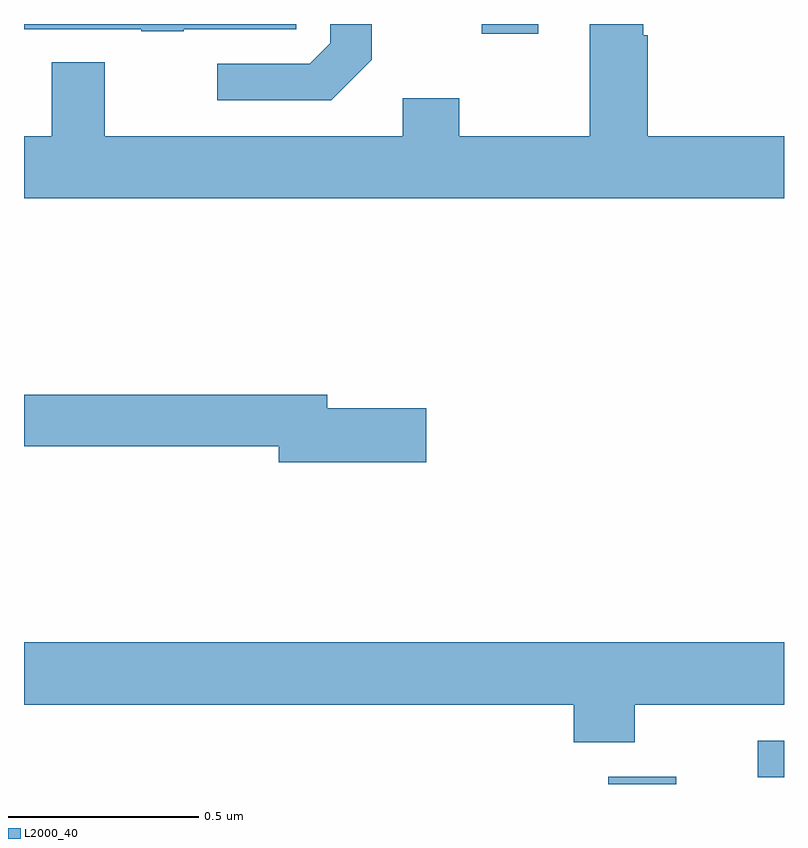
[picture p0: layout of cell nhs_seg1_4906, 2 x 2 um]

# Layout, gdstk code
import gdstk
lib = gdstk.Library(unit=1e-6, precision=1e-09)
def R(c, l, rs):  # rectangles x0, y0, x1, y1
    for r in rs: c.add(gdstk.rectangle(r[:2], r[2:], *l))
def P(c, l, *ps):  # polygons
    for p in ps: c.add(gdstk.Polygon(p, *l))
L2000_40 = (2000, 40)

nhs_seg1_4906 = lib.new_cell('nhs_seg1_4906')
R(nhs_seg1_4906, L2000_40, [(173.537,542.199,173.716,542.218), (173.931,542.217,174,542.313), (173.205,544.173,173.353,544.199)])
P(nhs_seg1_4906, L2000_40, [(174,543.904),(173.642,543.904),(173.642,544.169),(173.629,544.169),(173.629,544.199),(173.489,544.199),(173.489,543.904),(173.145,543.904),(173.145,544.003),(172.997,544.003),(172.997,543.904),(172.213,543.904),(172.213,544.099),(172.073,544.099),(172.073,543.904),(172,543.904),(172,543.74),(174,543.74)],
  [(172.421,544.185),(172.716,544.185),(172.716,544.199),(172,544.199),(172,544.185),(172.309,544.185),(172.309,544.18),(172.421,544.18)],
  [(172.915,544.105),(172.915,544.199),(172.806,544.199),(172.806,544.149),(172.752,544.095),(172.509,544.095),(172.509,543.999),(172.809,543.999)],
  [(173.059,543.188),(172.798,543.188),(172.798,543.224),(172,543.224),(172,543.088),(172.67,543.088),(172.67,543.046),(173.059,543.046)],
  [(173.607,542.408),(174,542.408),(174,542.572),(172,542.572),(172,542.408),(173.447,542.408),(173.447,542.309),(173.607,542.309)])

lib.write_gds('nhs_seg1_4906.gds')
